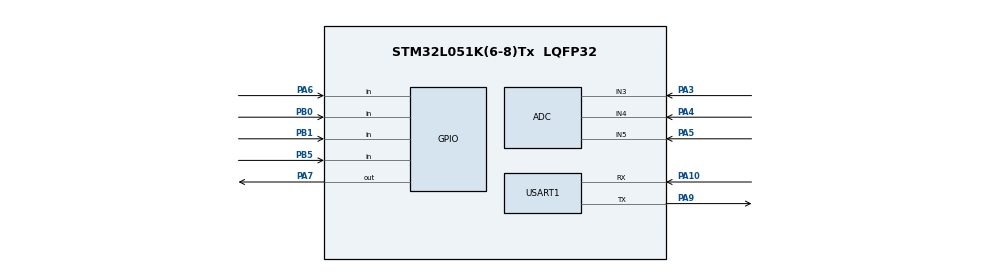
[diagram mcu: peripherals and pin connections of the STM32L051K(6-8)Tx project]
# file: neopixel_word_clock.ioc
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ADC.ClockPrescaler=ADC_CLOCK_SYNC_PCLK_DIV4
ADC.DiscontinuousConvMode=ENABLE
ADC.LowPowerAutoPowerOff=ENABLE
ADC.LowPowerAutoWait=ENABLE
ADC.LowPowerFrequencyMode=ENABLE
ADC.Overrun=ADC_OVR_DATA_OVERWRITTEN
ADC.SamplingTime=ADC_SAMPLETIME_7CYCLES_5
Mcu.Family=STM32L0
Mcu.Name=STM32L051K(6-8)Tx
Mcu.Package=LQFP32
PA0.Mode=SYS_WakeUp0
PA0.Signal=SYS_WKUP1
PA10.Mode=Asynchronous
PA10.Signal=USART1_RX
PA13.Mode=Serial_Wire
PA13.Signal=SYS_SWDIO
PA14.Mode=Serial_Wire
PA14.Signal=SYS_SWCLK
PA2.Signal=S_TIM2_CH3
PA3.Mode=IN3
PA3.Signal=ADC_IN3
PA4.Mode=IN4
PA4.Signal=ADC_IN4
PA5.Mode=IN5
PA5.Signal=ADC_IN5
PA6.GPIO_PuPd=GPIO_PULLUP
PA6.Signal=GPIO_Input
PA7.Signal=GPIO_Output
PA9.Mode=Asynchronous
PA9.Signal=USART1_TX
PB0.GPIO_PuPd=GPIO_PULLUP
PB0.Signal=GPIO_Input
PB1.GPIO_PuPd=GPIO_PULLUP
PB1.Signal=GPIO_Input
PB5.GPIO_PuPd=GPIO_PULLUP
PB5.Signal=GPIO_Input
PC14-OSC32_IN.Mode=LSE-External-Oscillator
PC14-OSC32_IN.Signal=RCC_OSC32_IN
PC15-OSC32_OUT.Mode=LSE-External-Oscillator
PC15-OSC32_OUT.Signal=RCC_OSC32_OUT
ProjectManager.HeapSize=0x200
ProjectManager.StackSize=0x400
ProjectManager.TargetToolchain=TrueSTUDIO
RCC.AHBFreq_Value=32000000
RCC.APB1Freq_Value=32000000
RCC.APB1TimFreq_Value=32000000
RCC.APB2Freq_Value=32000000
RCC.APB2TimFreq_Value=32000000
RCC.HCLKFreq_Value=32000000
RCC.HSI16_VALUE=16000000
RCC.HSI48MClockSelection=RCC_USBCLKSOURCE_HSI48
RCC.HSI48_VALUE=48000000
RCC.HSI_VALUE=16000000
RCC.LSE_Drive_Capability=RCC_LSEDRIVE_MEDIUMLOW
RCC.MSI_VALUE=2097000
RCC.PLLMUL=RCC_PLLMUL_4
RCC.RTCClockSelection=RCC_RTCCLKSOURCE_LSE
RCC.RTCClockSelectionVirtual=RCC_RTCCLKSOURCE_LSE
RCC.SYSCLKFreq_VALUE=32000000
RCC.SYSCLKSource=RCC_SYSCLKSOURCE_PLLCLK
RCC.VCOOutputFreq_Value=64000000
RTC.Format=RTC_FORMAT_BIN
RTC.HourFormat=RTC_HOURFORMAT_12
RTC.Year=20
SH.S_TIM2_CH3.0=TIM2_CH3
USART1.StopBits=STOPBITS_2
USART1.VirtualMode-Asynchronous=VM_ASYNC
VP_CRC_VS_CRC.Mode=CRC_Activate
VP_RTC_VS_RTC_Activate.Mode=RTC_Enabled
VP_RTC_VS_RTC_Calendar.Mode=RTC_Calendar
board=custom

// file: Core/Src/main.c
/* USER CODE BEGIN Header */
/**
  ******************************************************************************
  * @file           : main.c
  * @brief          : Main program body
  ******************************************************************************

This is the main program entry point of the NeoPixel Word Clock firmware
Author: Frank Zhao https://www.eleccelerator.com/

  ******************************************************************************
  */
/* USER CODE END Header */

#include "main.h"

/* USER CODE BEGIN Includes */

#include "tests.h"
#include "ws2812b.h"

/* USER CODE END Includes */

ADC_HandleTypeDef hadc;

CRC_HandleTypeDef hcrc;

RTC_HandleTypeDef hrtc;

void SystemClock_Config(void);
static void MX_GPIO_Init(void);
static void MX_ADC_Init(void);
static void MX_RTC_Init(void);
static void MX_USART1_UART_Init(void);
static void MX_CRC_Init(void);

int main(void)
{

  /* MCU Configuration--------------------------------------------------------*/

  /* Reset of all peripherals, Initializes the Flash interface and the Systick. */
  HAL_Init();

  /* USER CODE BEGIN Init */
  if (0) {
	// this will disable the auto-generated SystemClock_Config()
	// which causes the RTC to reset
	// we will call SystemClock_Config_KeepRTC() instead
	// which will keep the RTC running even after wake-up
  /* USER CODE END Init */

  /* Configure the system clock */
  SystemClock_Config();

  /* USER CODE BEGIN SysInit */
  }

	SystemClock_Config_KeepRTC();
	MX_USART1_UART_Init(); // call UART init here to start printing early, later call is skipped

	printf("\r\n\r\nHELLO WORLD");

	if(__HAL_PWR_GET_FLAG(PWR_FLAG_SB) != RESET) {
		printf(" AGAIN");
	}
	printf(" =============\r\n");
	print_info();

  /* USER CODE END SysInit */

  /* Initialize all configured peripherals */
  MX_GPIO_Init();
  MX_ADC_Init();
  MX_RTC_Init();
  MX_USART1_UART_Init();
  MX_CRC_Init();
  /* USER CODE BEGIN 2 */
	power_init();
	if(__HAL_PWR_GET_FLAG(PWR_FLAG_SB) != RESET) {
	__HAL_PWR_CLEAR_FLAG(PWR_FLAG_SB);
	}
	ws2812b_init();
	tests();

  /* USER CODE END 2 */

  /* Infinite loop */
	while (1)
	{

    /* USER CODE BEGIN 3 */
		// we try not putting application code into main() since it's auto-generated by CubeMX
		clock_task();

		// if the main power is lost, go to sleep (standby mode)
		if (power_avail() == 0) {
			printf("nap time\r\n");
			sleep();
		}
	}
  /* USER CODE END 3 */
}

void SystemClock_Config(void)
{
  LL_FLASH_SetLatency(LL_FLASH_LATENCY_1);

  if(LL_FLASH_GetLatency() != LL_FLASH_LATENCY_1)
  {
  Error_Handler();
  }
  LL_PWR_SetRegulVoltageScaling(LL_PWR_REGU_VOLTAGE_SCALE1);
  LL_RCC_HSI_Enable();

   /* Wait till HSI is ready */
  while(LL_RCC_HSI_IsReady() != 1)
  {

  }
  LL_RCC_HSI_SetCalibTrimming(16);
  LL_PWR_EnableBkUpAccess();
  LL_RCC_ForceBackupDomainReset();
  LL_RCC_ReleaseBackupDomainReset();
  LL_RCC_LSE_SetDriveCapability(LL_RCC_LSEDRIVE_MEDIUMLOW);
  LL_RCC_LSE_Enable();

   /* Wait till LSE is ready */
  while(LL_RCC_LSE_IsReady() != 1)
  {

  }
  LL_RCC_SetRTCClockSource(LL_RCC_RTC_CLKSOURCE_LSE);
  LL_RCC_EnableRTC();
  LL_RCC_PLL_ConfigDomain_SYS(LL_RCC_PLLSOURCE_HSI, LL_RCC_PLL_MUL_4, LL_RCC_PLL_DIV_2);
  LL_RCC_PLL_Enable();

   /* Wait till PLL is ready */
  while(LL_RCC_PLL_IsReady() != 1)
  {

  }
  LL_RCC_SetAHBPrescaler(LL_RCC_SYSCLK_DIV_1);
  LL_RCC_SetAPB1Prescaler(LL_RCC_APB1_DIV_1);
  LL_RCC_SetAPB2Prescaler(LL_RCC_APB2_DIV_1);
  LL_RCC_SetSysClkSource(LL_RCC_SYS_CLKSOURCE_PLL);

   /* Wait till System clock is ready */
  while(LL_RCC_GetSysClkSource() != LL_RCC_SYS_CLKSOURCE_STATUS_PLL)
  {

  }
  LL_SetSystemCoreClock(32000000);

   /* Update the time base */
  if (HAL_InitTick (TICK_INT_PRIORITY) != HAL_OK)
  {
    Error_Handler();
  };
  LL_RCC_SetUSARTClockSource(LL_RCC_USART1_CLKSOURCE_PCLK2);
}

static void MX_ADC_Init(void)
{

  /* USER CODE BEGIN ADC_Init 0 */
  LL_GPIO_InitTypeDef GPIO_InitStruct = {0};
  GPIO_InitStruct.Pin = LL_GPIO_PIN_3 | LL_GPIO_PIN_4 | LL_GPIO_PIN_5;
  GPIO_InitStruct.Mode = LL_GPIO_MODE_ANALOG;
  GPIO_InitStruct.Pull = LL_GPIO_PULL_NO;
  //GPIO_InitStruct.Alternate = LL_GPIO_AF_4;
  LL_GPIO_Init(GPIOA, &GPIO_InitStruct);
  /* USER CODE END ADC_Init 0 */

  ADC_ChannelConfTypeDef sConfig = {0};

  /** Configure the global features of the ADC (Clock, Resolution, Data Alignment and number of conversion)
  */
  hadc.Instance = ADC1;
  hadc.Init.OversamplingMode = DISABLE;
  hadc.Init.ClockPrescaler = ADC_CLOCK_SYNC_PCLK_DIV4;
  hadc.Init.Resolution = ADC_RESOLUTION_12B;
  hadc.Init.SamplingTime = ADC_SAMPLETIME_7CYCLES_5;
  hadc.Init.ScanConvMode = ADC_SCAN_DIRECTION_FORWARD;
  hadc.Init.DataAlign = ADC_DATAALIGN_RIGHT;
  hadc.Init.ContinuousConvMode = DISABLE;
  hadc.Init.DiscontinuousConvMode = ENABLE;
  hadc.Init.ExternalTrigConvEdge = ADC_EXTERNALTRIGCONVEDGE_NONE;
  hadc.Init.ExternalTrigConv = ADC_SOFTWARE_START;
  hadc.Init.DMAContinuousRequests = DISABLE;
  hadc.Init.EOCSelection = ADC_EOC_SINGLE_CONV;
  hadc.Init.Overrun = ADC_OVR_DATA_OVERWRITTEN;
  hadc.Init.LowPowerAutoWait = ENABLE;
  hadc.Init.LowPowerFrequencyMode = ENABLE;
  hadc.Init.LowPowerAutoPowerOff = ENABLE;
  if (HAL_ADC_Init(&hadc) != HAL_OK)
  {
    Error_Handler();
  }
  /** Configure for the selected ADC regular channel to be converted.
  */
  sConfig.Channel = ADC_CHANNEL_3;
  sConfig.Rank = ADC_RANK_CHANNEL_NUMBER;
  if (HAL_ADC_ConfigChannel(&hadc, &sConfig) != HAL_OK)
  {
    Error_Handler();
  }
#if 0
  /** Configure for the selected ADC regular channel to be converted.
  */
  sConfig.Channel = ADC_CHANNEL_4;
  if (HAL_ADC_ConfigChannel(&hadc, &sConfig) != HAL_OK)
  {
    Error_Handler();
  }
  /** Configure for the selected ADC regular channel to be converted.
  */
  sConfig.Channel = ADC_CHANNEL_5;
  if (HAL_ADC_ConfigChannel(&hadc, &sConfig) != HAL_OK)
  {
    Error_Handler();
  }
#endif

}

static void MX_CRC_Init(void)
{

  hcrc.Instance = CRC;
  hcrc.Init.DefaultPolynomialUse = DEFAULT_POLYNOMIAL_ENABLE;
  hcrc.Init.DefaultInitValueUse = DEFAULT_INIT_VALUE_ENABLE;
  hcrc.Init.InputDataInversionMode = CRC_INPUTDATA_INVERSION_NONE;
  hcrc.Init.OutputDataInversionMode = CRC_OUTPUTDATA_INVERSION_DISABLE;
  hcrc.InputDataFormat = CRC_INPUTDATA_FORMAT_BYTES;
  if (HAL_CRC_Init(&hcrc) != HAL_OK)
  {
    Error_Handler();
  }

}

static void MX_RTC_Init(void)
{

  /* USER CODE BEGIN RTC_Init 0 */

	LL_PWR_EnableBkUpAccess();
	__NOP(); __NOP(); __NOP(); __NOP();
	if ((RCC->CSR & RCC_CSR_RTCEN) == 0)
	{
		printf("RTC requires init, BKP0R 0x%08lX\r\n", hrtc.Instance->BKP0R);
		// LSE requires initialization
		LL_RCC_ForceBackupDomainReset();
		LL_RCC_ReleaseBackupDomainReset();

		LL_RCC_LSE_SetDriveCapability(LL_RCC_LSEDRIVE_LOW);
		LL_RCC_LSE_Enable();

		/* Wait till LSE is ready */
		while(LL_RCC_LSE_IsReady() != 1)
		{

		}
		LL_RCC_SetRTCClockSource(LL_RCC_RTC_CLKSOURCE_LSE);
		LL_RCC_EnableRTC();
	}

  /* USER CODE END RTC_Init 0 */

  RTC_TimeTypeDef sTime = {0};
  RTC_DateTypeDef sDate = {0};

  /** Initialize RTC Only
  */
  hrtc.Instance = RTC;
  hrtc.Init.HourFormat = RTC_HOURFORMAT_12;
  hrtc.Init.AsynchPrediv = 127;
  hrtc.Init.SynchPrediv = 255;
  hrtc.Init.OutPut = RTC_OUTPUT_DISABLE;
  hrtc.Init.OutPutRemap = RTC_OUTPUT_REMAP_NONE;
  hrtc.Init.OutPutPolarity = RTC_OUTPUT_POLARITY_HIGH;
  hrtc.Init.OutPutType = RTC_OUTPUT_TYPE_OPENDRAIN;
  if (HAL_RTC_Init(&hrtc) != HAL_OK)
  {
    Error_Handler();
  }

  /* USER CODE BEGIN Check_RTC_BKUP */
	HAL_RTC_GetDate(&hrtc, &sDate, RTC_FORMAT_BIN);
	if (sDate.Year >= 20) {
		return;
	}
	printf("RTC time reset\r\n");
  /* USER CODE END Check_RTC_BKUP */

  /** Initialize RTC and set the Time and Date
  */
  sTime.Hours = 1;
  sTime.Minutes = 0;
  sTime.Seconds = 0;
  sTime.TimeFormat = RTC_HOURFORMAT12_AM;
  sTime.DayLightSaving = RTC_DAYLIGHTSAVING_NONE;
  sTime.StoreOperation = RTC_STOREOPERATION_RESET;
  if (HAL_RTC_SetTime(&hrtc, &sTime, RTC_FORMAT_BIN) != HAL_OK)
  {
    Error_Handler();
  }
  sDate.WeekDay = RTC_WEEKDAY_MONDAY;
  sDate.Month = RTC_MONTH_JANUARY;
  sDate.Date = 1;
  sDate.Year = 20;

  if (HAL_RTC_SetDate(&hrtc, &sDate, RTC_FORMAT_BIN) != HAL_OK)
  {
    Error_Handler();
  }
  /* USER CODE BEGIN RTC_Init 2 */

  hrtc.Instance->BKP0R = 0xDEADBEEF;
  /* USER CODE END RTC_Init 2 */

}

static void MX_USART1_UART_Init(void)
{

  /* USER CODE BEGIN USART1_Init 0 */
	static char uart_inited = 0;
	if (uart_inited) {
		return;
	}
	uart_inited = 1;

  /* USER CODE END USART1_Init 0 */

  LL_USART_InitTypeDef USART_InitStruct = {0};

  LL_GPIO_InitTypeDef GPIO_InitStruct = {0};

  /* Peripheral clock enable */
  LL_APB2_GRP1_EnableClock(LL_APB2_GRP1_PERIPH_USART1);

  LL_IOP_GRP1_EnableClock(LL_IOP_GRP1_PERIPH_GPIOA);
  /**USART1 GPIO Configuration
  PA9   ------> USART1_TX
  PA10   ------> USART1_RX
  */
  GPIO_InitStruct.Pin = LL_GPIO_PIN_9;
  GPIO_InitStruct.Mode = LL_GPIO_MODE_ALTERNATE;
  GPIO_InitStruct.Speed = LL_GPIO_SPEED_FREQ_VERY_HIGH;
  GPIO_InitStruct.OutputType = LL_GPIO_OUTPUT_PUSHPULL;
  GPIO_InitStruct.Pull = LL_GPIO_PULL_NO;
  GPIO_InitStruct.Alternate = LL_GPIO_AF_4;
  LL_GPIO_Init(GPIOA, &GPIO_InitStruct);

  GPIO_InitStruct.Pin = LL_GPIO_PIN_10;
  GPIO_InitStruct.Mode = LL_GPIO_MODE_ALTERNATE;
  GPIO_InitStruct.Speed = LL_GPIO_SPEED_FREQ_VERY_HIGH;
  GPIO_InitStruct.OutputType = LL_GPIO_OUTPUT_PUSHPULL;
  GPIO_InitStruct.Pull = LL_GPIO_PULL_NO;
  GPIO_InitStruct.Alternate = LL_GPIO_AF_4;
  LL_GPIO_Init(GPIOA, &GPIO_InitStruct);

  USART_InitStruct.BaudRate = 115200;
  USART_InitStruct.DataWidth = LL_USART_DATAWIDTH_8B;
  USART_InitStruct.StopBits = LL_USART_STOPBITS_2;
  USART_InitStruct.Parity = LL_USART_PARITY_NONE;
  USART_InitStruct.TransferDirection = LL_USART_DIRECTION_TX_RX;
  USART_InitStruct.HardwareFlowControl = LL_USART_HWCONTROL_NONE;
  USART_InitStruct.OverSampling = LL_USART_OVERSAMPLING_16;
  LL_USART_Init(USART1, &USART_InitStruct);
  LL_USART_ConfigAsyncMode(USART1);
  LL_USART_Enable(USART1);

}

static void MX_GPIO_Init(void)
{
  LL_GPIO_InitTypeDef GPIO_InitStruct = {0};

  /* GPIO Ports Clock Enable */
  LL_IOP_GRP1_EnableClock(LL_IOP_GRP1_PERIPH_GPIOC);
  LL_IOP_GRP1_EnableClock(LL_IOP_GRP1_PERIPH_GPIOA);
  LL_IOP_GRP1_EnableClock(LL_IOP_GRP1_PERIPH_GPIOB);

  /**/
  LL_GPIO_ResetOutputPin(GPIOA, LL_GPIO_PIN_7);

  /**/
  GPIO_InitStruct.Pin = LL_GPIO_PIN_1;
  GPIO_InitStruct.Mode = LL_GPIO_MODE_ANALOG;
  GPIO_InitStruct.Pull = LL_GPIO_PULL_NO;
  LL_GPIO_Init(GPIOA, &GPIO_InitStruct);

  /**/
  GPIO_InitStruct.Pin = LL_GPIO_PIN_2;
  GPIO_InitStruct.Mode = LL_GPIO_MODE_ALTERNATE;
  GPIO_InitStruct.Speed = LL_GPIO_SPEED_FREQ_LOW;
  GPIO_InitStruct.OutputType = LL_GPIO_OUTPUT_PUSHPULL;
  GPIO_InitStruct.Pull = LL_GPIO_PULL_NO;
  GPIO_InitStruct.Alternate = LL_GPIO_AF_2;
  LL_GPIO_Init(GPIOA, &GPIO_InitStruct);

  /**/
  GPIO_InitStruct.Pin = LL_GPIO_PIN_6;
  GPIO_InitStruct.Mode = LL_GPIO_MODE_INPUT;
  GPIO_InitStruct.Pull = LL_GPIO_PULL_UP;
  LL_GPIO_Init(GPIOA, &GPIO_InitStruct);

  /**/
  GPIO_InitStruct.Pin = LL_GPIO_PIN_7;
  GPIO_InitStruct.Mode = LL_GPIO_MODE_OUTPUT;
  GPIO_InitStruct.Speed = LL_GPIO_SPEED_FREQ_LOW;
  GPIO_InitStruct.OutputType = LL_GPIO_OUTPUT_PUSHPULL;
  GPIO_InitStruct.Pull = LL_GPIO_PULL_NO;
  LL_GPIO_Init(GPIOA, &GPIO_InitStruct);

  /**/
  GPIO_InitStruct.Pin = LL_GPIO_PIN_0;
  GPIO_InitStruct.Mode = LL_GPIO_MODE_INPUT;
  GPIO_InitStruct.Pull = LL_GPIO_PULL_UP;
  LL_GPIO_Init(GPIOB, &GPIO_InitStruct);

  /**/
  GPIO_InitStruct.Pin = LL_GPIO_PIN_1;
  GPIO_InitStruct.Mode = LL_GPIO_MODE_INPUT;
  GPIO_InitStruct.Pull = LL_GPIO_PULL_UP;
  LL_GPIO_Init(GPIOB, &GPIO_InitStruct);

  /**/
  GPIO_InitStruct.Pin = LL_GPIO_PIN_8;
  GPIO_InitStruct.Mode = LL_GPIO_MODE_ANALOG;
  GPIO_InitStruct.Pull = LL_GPIO_PULL_NO;
  LL_GPIO_Init(GPIOA, &GPIO_InitStruct);

  /**/
  GPIO_InitStruct.Pin = LL_GPIO_PIN_11;
  GPIO_InitStruct.Mode = LL_GPIO_MODE_ANALOG;
  GPIO_InitStruct.Pull = LL_GPIO_PULL_NO;
  LL_GPIO_Init(GPIOA, &GPIO_InitStruct);

  /**/
  GPIO_InitStruct.Pin = LL_GPIO_PIN_12;
  GPIO_InitStruct.Mode = LL_GPIO_MODE_ANALOG;
  GPIO_InitStruct.Pull = LL_GPIO_PULL_NO;
  LL_GPIO_Init(GPIOA, &GPIO_InitStruct);

  /**/
  GPIO_InitStruct.Pin = LL_GPIO_PIN_15;
  GPIO_InitStruct.Mode = LL_GPIO_MODE_ANALOG;
  GPIO_InitStruct.Pull = LL_GPIO_PULL_NO;
  LL_GPIO_Init(GPIOA, &GPIO_InitStruct);

  /**/
  GPIO_InitStruct.Pin = LL_GPIO_PIN_3;
  GPIO_InitStruct.Mode = LL_GPIO_MODE_ANALOG;
  GPIO_InitStruct.Pull = LL_GPIO_PULL_NO;
  LL_GPIO_Init(GPIOB, &GPIO_InitStruct);

  /**/
  GPIO_InitStruct.Pin = LL_GPIO_PIN_4;
  GPIO_InitStruct.Mode = LL_GPIO_MODE_ANALOG;
  GPIO_InitStruct.Pull = LL_GPIO_PULL_NO;
  LL_GPIO_Init(GPIOB, &GPIO_InitStruct);

  /**/
  GPIO_InitStruct.Pin = LL_GPIO_PIN_5;
  GPIO_InitStruct.Mode = LL_GPIO_MODE_INPUT;
  GPIO_InitStruct.Pull = LL_GPIO_PULL_UP;
  LL_GPIO_Init(GPIOB, &GPIO_InitStruct);

  /**/
  GPIO_InitStruct.Pin = LL_GPIO_PIN_6;
  GPIO_InitStruct.Mode = LL_GPIO_MODE_ANALOG;
  GPIO_InitStruct.Pull = LL_GPIO_PULL_NO;
  LL_GPIO_Init(GPIOB, &GPIO_InitStruct);

  /**/
  GPIO_InitStruct.Pin = LL_GPIO_PIN_7;
  GPIO_InitStruct.Mode = LL_GPIO_MODE_ANALOG;
  GPIO_InitStruct.Pull = LL_GPIO_PULL_NO;
  LL_GPIO_Init(GPIOB, &GPIO_InitStruct);

}

/* USER CODE BEGIN 4 */

int __io_putchar(int ch)
{
	while (LL_USART_IsActiveFlag_TXE(USART1) == 0) {
		__NOP();
	}
	LL_USART_TransmitData8(USART1, ch);
#if defined(STM32L052xx) && defined(USE_USB_PORT) && defined(USB) && defined(HAL_PCD_MODULE_ENABLED)
	usb_putchar(ch);
#endif
	return 1;
}

int adc_read(uint32_t ch)
{
	uint8_t try = 0;
	uint32_t res;
	ADC_ChannelConfTypeDef sConfig = {0};
	sConfig.Channel = ch;
	while (try <= 1)
	{
		try++;
		if (HAL_ADC_ConfigChannel(&hadc, &sConfig) != HAL_OK) {
			Error_Handler();
		}
		if (HAL_ADC_Start(&hadc) != HAL_OK) {
			Error_Handler();
		}
		while (1)
		{
			if (HAL_ADC_PollForConversion(&hadc, 10) == HAL_OK) {
				res = HAL_ADC_GetValue(&hadc);
				break;
			}
		}
	}
	return (int)res;
}

uint32_t rand_read(void)
{
#if defined(RNG) && defined(STM32L0xx_LL_RNG_H)
	return LL_RNG_ReadRandData32(RNG);
#else
	return rand();
#endif
}

void print_info(void)
{
	char* tmpstr = (char*)rgbw_buffer;
	printf("HAL Version    0x%08lX\r\n", HAL_GetHalVersion());
	printf("DBGMCU->IDCODE 0x%08lX\r\n", DBGMCU->IDCODE);
	printf("UID 0x%08lX 0x%08lX 0x%08lX\r\n", HAL_GetUIDw0(), HAL_GetUIDw1(), HAL_GetUIDw2());
	printf("FW Version Info:\r\n%s\r\n", version_string(tmpstr));
	printf("FW Version CRC: 0x%08lX\r\n", HAL_CRC_Calculate(&hcrc, (uint32_t*)tmpstr, (uint32_t)strlen(tmpstr)));
}

/* USER CODE END 4 */

void Error_Handler(void)
{
}

/************************ (C) COPYRIGHT STMicroelectronics *****END OF FILE****/
